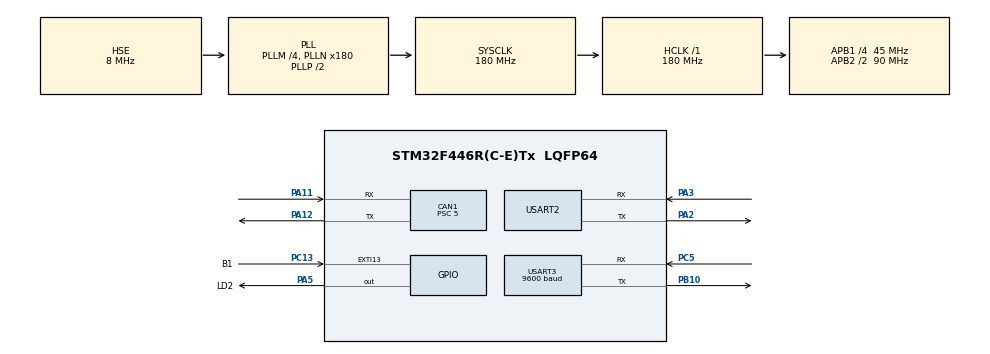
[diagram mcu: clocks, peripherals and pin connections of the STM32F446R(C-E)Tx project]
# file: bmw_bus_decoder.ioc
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CAN1.BS1=CAN_BS1_15TQ
CAN1.BS2=CAN_BS2_2TQ
CAN1.CalculateBaudRate=500000
CAN1.CalculateTimeBit=2000
CAN1.CalculateTimeQuantum=111.11111111111111
CAN1.Prescaler=5
Dma.Request0=USART2_TX
Dma.USART2_TX.0.Direction=DMA_MEMORY_TO_PERIPH
Dma.USART2_TX.0.FIFOMode=DMA_FIFOMODE_DISABLE
Dma.USART2_TX.0.Instance=DMA1_Stream6
Dma.USART2_TX.0.MemDataAlignment=DMA_MDATAALIGN_BYTE
Dma.USART2_TX.0.MemInc=DMA_MINC_ENABLE
Dma.USART2_TX.0.Mode=DMA_NORMAL
Dma.USART2_TX.0.PeriphDataAlignment=DMA_PDATAALIGN_BYTE
Dma.USART2_TX.0.PeriphInc=DMA_PINC_DISABLE
Dma.USART2_TX.0.Priority=DMA_PRIORITY_LOW
Mcu.Family=STM32F4
Mcu.Name=STM32F446R(C-E)Tx
Mcu.Package=LQFP64
NVIC.CAN1_RX0_IRQn=true\:0\:0\:false\:false\:true\:true\:true\:true
NVIC.DMA1_Stream6_IRQn=true\:0\:0\:false\:false\:true\:false\:true\:true
NVIC.PriorityGroup=NVIC_PRIORITYGROUP_4
NVIC.TIM7_IRQn=true\:0\:0\:false\:false\:true\:true\:true\:true
NVIC.USART2_IRQn=true\:0\:0\:false\:false\:true\:true\:true\:true
NVIC.USART3_IRQn=true\:0\:0\:false\:false\:true\:true\:true\:true
PA11.Mode=CAN_Activate
PA11.Signal=CAN1_RX
PA12.Mode=CAN_Activate
PA12.Signal=CAN1_TX
PA13.Mode=Serial_Wire
PA13.Signal=SYS_JTMS-SWDIO
PA14.Mode=Serial_Wire
PA14.Signal=SYS_JTCK-SWCLK
PA2.Mode=Asynchronous
PA2.Signal=USART2_TX
PA3.Mode=Asynchronous
PA3.Signal=USART2_RX
PA5.GPIO_Label=LD2
PA5.Signal=GPIO_Output
PB10.Mode=Asynchronous
PB10.Signal=USART3_TX
PC13.GPIO_Label=B1
PC13.Signal=GPXTI13
PC5.Mode=Asynchronous
PC5.Signal=USART3_RX
PH0-OSC_IN.Mode=HSE-External-Oscillator
PH0-OSC_IN.Signal=RCC_OSC_IN
PH1-OSC_OUT.Mode=HSE-External-Oscillator
PH1-OSC_OUT.Signal=RCC_OSC_OUT
ProjectManager.HeapSize=0x200
ProjectManager.StackSize=0x400
ProjectManager.TargetToolchain=CMake
RCC.AHBFreq_Value=180000000
RCC.APB1CLKDivider=RCC_HCLK_DIV4
RCC.APB1Freq_Value=45000000
RCC.APB1TimFreq_Value=90000000
RCC.APB2CLKDivider=RCC_HCLK_DIV2
RCC.APB2Freq_Value=90000000
RCC.APB2TimFreq_Value=180000000
RCC.CortexFreq_Value=180000000
RCC.HCLKFreq_Value=180000000
RCC.HSE_VALUE=8000000
RCC.PLLM=4
RCC.PLLN=180
RCC.PLLSourceVirtual=RCC_PLLSOURCE_HSE
RCC.SYSCLKFreq_VALUE=180000000
RCC.SYSCLKSource=RCC_SYSCLKSOURCE_PLLCLK
RCC.USBFreq_Value=180000000
RCC.VCOOutputFreq_Value=360000000
TIM7.Period=9999
TIM7.Prescaler=8999
USART2.VirtualMode=VM_ASYNC
USART3.BaudRate=9600
USART3.Parity=PARITY_EVEN
USART3.VirtualMode=VM_ASYNC
USART3.WordLength=WORDLENGTH_9B
VP_TIM7_VS_ClockSourceINT.Mode=Enable_Timer
board=custom

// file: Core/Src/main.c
/* USER CODE BEGIN Header */
/**
 ******************************************************************************
 * @file           : main.c
 * @brief          : Main program body
 ******************************************************************************
 * @attention
 *
 * Copyright (c) 2026 STMicroelectronics.
 * All rights reserved.
 *
 * This software is licensed under terms that can be found in the LICENSE file
 * in the root directory of this software component.
 * If no LICENSE file comes with this software, it is provided AS-IS.
 *
 ******************************************************************************
 */
/* USER CODE END Header */
#include "main.h"
#include "can.h"
#include "dma.h"
#include "tim.h"
#include "usart.h"
#include "gpio.h"

/* USER CODE BEGIN Includes */
// #include "ibus.h"
#include "kbus.h"
#include "kbus_debug.h"
#include "can_debug.h"
#include "decoder.h"
#include "decoder_debug.h"
/* USER CODE END Includes */

/* USER CODE BEGIN PV */
uint8_t Backlight = 0; // Глобальная переменная для хранения уровня подсветки (пример)
uint8_t Speed = 0;     // Глобальная переменная для хранения скорости автомобиля (пример)
/* USER CODE END PV */

void SystemClock_Config(void);

/* USER CODE BEGIN 0 */
void HAL_UARTEx_RxEventCallback(UART_HandleTypeDef *huart, uint16_t Size)
{
  if (huart->Instance == USART3)
  {
    KBUS_Parse(Size);
  }
}

void KBUS_RxMsgCallback(KBUS_MessageTypeDef *Msg)
{
  // Выводим каждое сообщение в отладочный интерфейс
  KBUS_Debug_PrintMsg(Msg);

  // // Пример обработки команды изменения подсветки приборов
  // if (Msg->Data[0] == KBUS_CMD_INSTRUMENT_BACKLIGHTING)
  // {
  //   Backlight = Msg->Data[1];
  // }

  // // Пример запроса статуса зажигания, отправки ответа и логирования
  // if (Msg->Data[0] == KBUS_CMD_IGNITION_REQUEST && Msg->Size >= 1)
  // {
  //   uint8_t src = KBUS_DEV_IKE;
  //   uint8_t data[] = {KBUS_CMD_IGNITION, 0x03};
  //   KBUS_Send(src, KBUS_DEV_BROADCAST, data, 2);
  //   KBUS_Debug_Log(" [KBUS] >> Sent Ignition Status to %02X\r\n", KBUS_DEV_BROADCAST);
  // }
}

void HAL_CAN_RxFifo0MsgPendingCallback(CAN_HandleTypeDef *hcan)
{
  CAN_RxHeaderTypeDef RxHeader;
  uint8_t RxData[8];
  HAL_CAN_GetRxMessage(hcan, CAN_RX_FIFO0, &RxHeader, RxData);

  // // Выводим каждое сообщение в отладочный интерфейс
  // CAN_Debug_PrintFrame(&RxHeader, RxData, RxHeader.DLC);

  // Пример обработки сообщений с определёнными ID
  // if (RxHeader.StdId == CAN_ID_ASC1) // Скорость
  // {
  //   float speed_raw = ((uint16_t)RxData[2] << 8 | RxData[1]) >> 4;
  //   Speed = (uint8_t)(speed_raw * 1.125f);
  //   CAN_Debug_Log(" [CAN] >> Current Speed: %d km/h\r\n", Speed);
  // }

  switch (RxHeader.StdId)
  {
  case 0x153: // Скорость
    DECODER_CalculateSpeed(RxData);
    break;

  case 0x1F5: // Угол руля
    DECODER_CalculateSteeringAngle(RxData);
    break;

  case 0x316: // Обороты
    DECODER_CalculateRpm(RxData);
    break;

  case 0x329: // Температура ОЖ
    DECODER_CalculateCoolantTemp(RxData);
    break;

  case 0x43F: // Передача
    DECODER_CalculateGear(RxData);
    break;

  case 0x613: // Топливо
    DECODER_CalculateFuelLevel(RxData);
    break;

  case 0x615: // Температура на улице
    DECODER_CalculateOutsideTemp(RxData);
    break;

    // case 0x545: // Предупреждения
    //             // 0x02 - Check Engine
    //   if (RxData[0] & 0x02)
    //   {
    //     car.Warnings |= WARN_CHECK_ENGINE;
    //   }
    //   else
    //   {
    //     car.Warnings &= ~WARN_CHECK_ENGINE;
    //   }

    //   // 0x08 - Cruise Control
    //   if (RxData[0] & 0x08)
    //   {
    //     car.Warnings |= WARN_CRUISE;
    //   }
    //   else
    //   {
    //     car.Warnings &= ~WARN_CRUISE;
    //   }

    //   // 0x10 - EML
    //   if (RxData[0] & 0x10)
    //   {
    //     car.Warnings |= WARN_EML;
    //   }
    //   else
    //   {
    //     car.Warnings &= ~WARN_EML;
    //   }

    //   // 0x01 - Battery Charge
    //   if (RxData[5] & 0x01)
    //   {
    //     car.Warnings |= WARN_BATTERY;
    //   }
    //   else
    //   {
    //     car.Warnings &= ~WARN_BATTERY;
    //   }
    //   break;
  }
}

void HAL_TIM_PeriodElapsedCallback(TIM_HandleTypeDef *htim)
{
  if (htim->Instance == TIM7)
  {
    // DECODER_Debug_PrintMsg(&carState);
  }

  // HAL_UART_Transmit_DMA(&huart2, (uint8_t *)&frame, sizeof(frame));
}

void HAL_UART_TxCpltCallback(UART_HandleTypeDef *huart)
{
  if (huart->Instance == USART2)
  {
  }
}

/* USER CODE END 0 */

int main(void)
{

  /* MCU Configuration--------------------------------------------------------*/

  /* Reset of all peripherals, Initializes the Flash interface and the Systick. */
  HAL_Init();

  /* Configure the system clock */
  SystemClock_Config();

  /* Initialize all configured peripherals */
  MX_GPIO_Init();
  MX_DMA_Init();
  MX_CAN1_Init();
  MX_USART2_UART_Init();
  MX_USART3_UART_Init();
  MX_TIM7_Init();
  /* USER CODE BEGIN 2 */
  CAN_FilterTypeDef sCanFilterConfig;
  sCanFilterConfig.FilterBank = 0;
  sCanFilterConfig.FilterMode = CAN_FILTERMODE_IDMASK;
  sCanFilterConfig.FilterScale = CAN_FILTERSCALE_32BIT;
  sCanFilterConfig.FilterIdHigh = 0x0000;
  sCanFilterConfig.FilterIdLow = 0x0000;
  sCanFilterConfig.FilterMaskIdHigh = 0x0000;
  sCanFilterConfig.FilterMaskIdLow = 0x0000;
  sCanFilterConfig.FilterFIFOAssignment = CAN_RX_FIFO0;
  sCanFilterConfig.FilterActivation = ENABLE;
  sCanFilterConfig.SlaveStartFilterBank = 14;
  HAL_CAN_ConfigFilter(&hcan1, &sCanFilterConfig);

  HAL_CAN_Start(&hcan1);
  HAL_CAN_ActivateNotification(&hcan1, CAN_IT_RX_FIFO0_MSG_PENDING);

  KBUS_Init(&huart3);
  KBUS_Debug_Init(&huart2);
  // CAN_Debug_Init(&huart2);
  HAL_TIM_Base_Start_IT(&htim7);
  // DECODER_Debug_Init(&huart2);
  /* USER CODE END 2 */

  /* Infinite loop */
  while (1)
  {

    /* USER CODE BEGIN 3 */
    // IBus_Process();
    KBUS_Process();
  }
  /* USER CODE END 3 */
}

void SystemClock_Config(void)
{
  RCC_OscInitTypeDef RCC_OscInitStruct = {0};
  RCC_ClkInitTypeDef RCC_ClkInitStruct = {0};

  /** Configure the main internal regulator output voltage
   */
  __HAL_RCC_PWR_CLK_ENABLE();
  __HAL_PWR_VOLTAGESCALING_CONFIG(PWR_REGULATOR_VOLTAGE_SCALE1);

  /** Initializes the RCC Oscillators according to the specified parameters
   * in the RCC_OscInitTypeDef structure.
   */
  RCC_OscInitStruct.OscillatorType = RCC_OSCILLATORTYPE_HSE;
  RCC_OscInitStruct.HSEState = RCC_HSE_ON;
  RCC_OscInitStruct.PLL.PLLState = RCC_PLL_ON;
  RCC_OscInitStruct.PLL.PLLSource = RCC_PLLSOURCE_HSE;
  RCC_OscInitStruct.PLL.PLLM = 4;
  RCC_OscInitStruct.PLL.PLLN = 180;
  RCC_OscInitStruct.PLL.PLLP = RCC_PLLP_DIV2;
  RCC_OscInitStruct.PLL.PLLQ = 2;
  RCC_OscInitStruct.PLL.PLLR = 2;
  if (HAL_RCC_OscConfig(&RCC_OscInitStruct) != HAL_OK)
  {
    Error_Handler();
  }

  /** Activate the Over-Drive mode
   */
  if (HAL_PWREx_EnableOverDrive() != HAL_OK)
  {
    Error_Handler();
  }

  /** Initializes the CPU, AHB and APB buses clocks
   */
  RCC_ClkInitStruct.ClockType = RCC_CLOCKTYPE_HCLK | RCC_CLOCKTYPE_SYSCLK | RCC_CLOCKTYPE_PCLK1 | RCC_CLOCKTYPE_PCLK2;
  RCC_ClkInitStruct.SYSCLKSource = RCC_SYSCLKSOURCE_PLLCLK;
  RCC_ClkInitStruct.AHBCLKDivider = RCC_SYSCLK_DIV1;
  RCC_ClkInitStruct.APB1CLKDivider = RCC_HCLK_DIV4;
  RCC_ClkInitStruct.APB2CLKDivider = RCC_HCLK_DIV2;

  if (HAL_RCC_ClockConfig(&RCC_ClkInitStruct, FLASH_LATENCY_5) != HAL_OK)
  {
    Error_Handler();
  }
}

void Error_Handler(void)
{
  __disable_irq();
  while (1)
  {
  }
}
